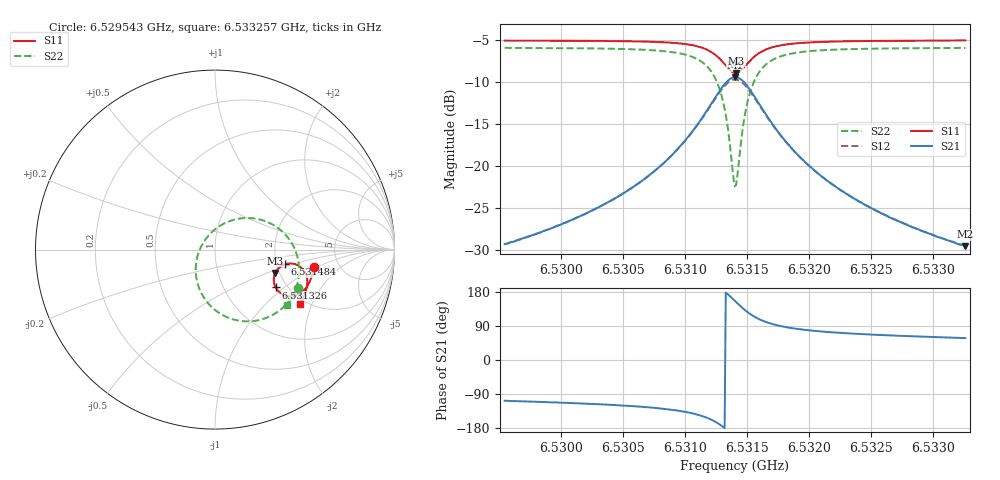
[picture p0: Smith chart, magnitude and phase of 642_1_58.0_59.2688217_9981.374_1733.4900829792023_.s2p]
#  HZ  S  RI  R  50.00
! Rohde & Schwarz Vector Network Analyzer
! Rohde-Schwarz,ZNB20-2Port,1311601062101988,3.16
! Created: UTC 3/21/2024, 1:19:05 AM
! freq[Hz]  re:S11  im:S11  re:S21  im:S21  re:S12  im:S12  re:S22  im:S22
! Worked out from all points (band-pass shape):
!   401 points, 6.529543 GHz to 6.533257 GHz, reference 50 ohm
!   highest |S21| = -9.38 dB at 6.5314 GHz (marker M1); lowest = -29.5 dB at 6.533257 GHz (marker M2)
!   |S21| within 3 dB of the highest: 6.531216 GHz to 6.531587 GHz (370.8 kHz wide, 0.00568 % of centre)
!   lowest |S11| = -8.9 dB at 6.531409 GHz (marker M3), VSWR 2.12, Z = 95 - j28.4 ohm
!   |S11| at or under -10 dB: nowhere
!   |S22| runs from -22.4 to -5.9 dB; largest |S21 - S12| = 0.014
!   S11 on the Smith chart (normalised r, x): 6.529543 GHz: 3.26, -0.92; 6.531326 GHz: 1.74, -0.87; 6.531484 GHz: 2.21, -0.43; 6.533257 GHz: 1.83, -1.64
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6.5295428e9  0.552 -0.097  -0.0103 -0.0327  -0.0111 -0.0326  0.4601 -0.2144
6.530165e9  0.5389 -0.1497  -0.0213 -0.0463  -0.0225 -0.0457  0.4242 -0.273
6.5305086e9  0.5257 -0.1827  -0.0353 -0.06  -0.0369 -0.0591  0.388 -0.3146
6.5307872e9  0.5067 -0.2142  -0.0599 -0.0784  -0.0623 -0.0765  0.3325 -0.3575
6.5310008e9  0.4764 -0.2428  -0.1047 -0.0977  -0.1075 -0.0938  0.2431 -0.3933
6.531168e9  0.4242 -0.26  -0.186 -0.1003  -0.1881 -0.092  0.0952 -0.387
6.5312608e9  0.3738 -0.2479  -0.2634 -0.0623  -0.2606 -0.051  -0.0304 -0.308
6.531298e9  0.3518 -0.2304  -0.2953 -0.0263  -0.2892 -0.0147  -0.0769 -0.2412
6.5313258e9  0.338 -0.2109  -0.314 0.0113  -0.3052 0.0219  -0.1005 -0.1752
6.5313815e9  0.3279 -0.1579  -0.3201 0.1067  -0.3071 0.112  -0.0919 -0.0177
6.5314001e9  0.332 -0.1392  -0.3095 0.1395  -0.2962 0.1424  -0.0682 0.0335
6.5314094e9  0.3356 -0.1301  -0.3017 0.1551  -0.2884 0.1568  -0.0527 0.0572
6.531428e9  0.3454 -0.1136  -0.2818 0.1832  -0.2693 0.1826  -0.0157 0.0994
6.5314465e9  0.3582 -0.0996  -0.2578 0.2061  -0.2464 0.2038  0.0279 0.1325
6.5314837e9  0.3882 -0.0821  -0.2029 0.2351  -0.1947 0.2306  0.1225 0.1704
6.5315487e9  0.4383 -0.079  -0.116 0.2398  -0.1119 0.2354  0.2683 0.1623
6.5316416e9  0.4825 -0.1026  -0.0406 0.2037  -0.0388 0.2013  0.3896 0.0859
6.5317809e9  0.508 -0.1421  0.00364 0.149  0.00488 0.1481  0.4543 -0.0226
6.5320223e9  0.5141 -0.1894  0.0211 0.0947  0.0223 0.0943  0.4681 -0.1337
6.5323009e9  0.5078 -0.2252  0.0228 0.0644  0.0238 0.064  0.4557 -0.2016
6.5326445e9  0.4959 -0.2584  0.0211 0.045  0.022 0.0449  0.436 -0.2524
6.5332574e9  0.4713 -0.3058  0.0178 0.0283  0.0183 0.028  0.401 -0.3101
